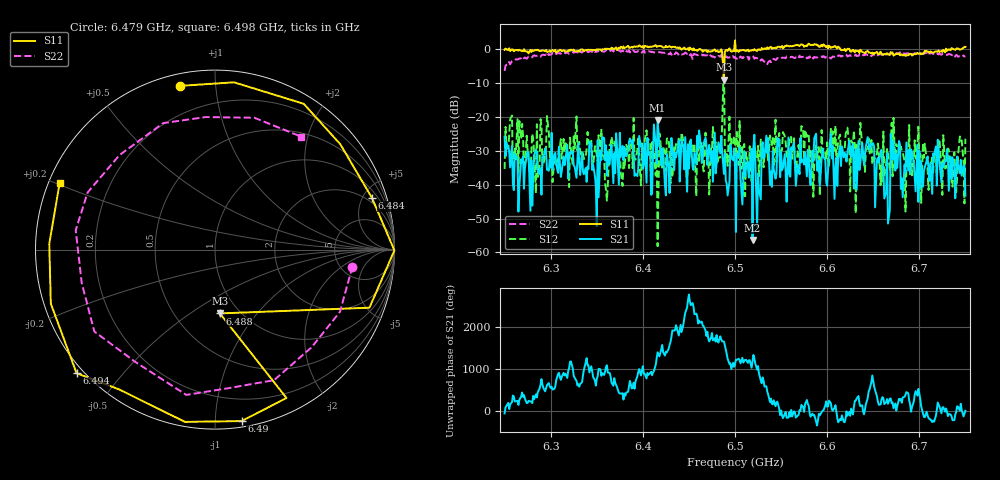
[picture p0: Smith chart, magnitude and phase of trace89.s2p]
# Hz S RI R 50
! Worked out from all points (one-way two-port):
!   401 points, 6.25 GHz to 6.75 GHz, reference 50 ohm
!   highest |S21| = -20.91 dB at 6.416 GHz (marker M1); lowest = -56.3 dB at 6.519 GHz (marker M2)
!   lowest |S11| = -9.0 dB at 6.488 GHz (marker M3), VSWR 2.11, Z = 40.7 - j33.2 ohm
!   |S11| at or under -10 dB: nowhere
!   |S22| runs from -6.4 to -0.1 dB; largest |S21 - S12| = 0.75
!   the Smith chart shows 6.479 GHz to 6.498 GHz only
!   S11 on the Smith chart (normalised r, x): 6.479 GHz: 0.06, +0.81; 6.484 GHz: 1.54, +5.84; 6.488 GHz: 0.81, -0.66; 6.49 GHz: 0.04, -1.17; 6.494 GHz: -0.02, -0.38; 6.498 GHz: 0.03, +0.20
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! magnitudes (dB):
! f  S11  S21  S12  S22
! 6.25 GHz  -0.1  -25.9  -35.4  -6.4
! 6.28 GHz  -0.2  -46.2  -24.9  -2.4
! 6.334 GHz  0.0  -30.4  -32.9  -1.0
! 6.36 GHz  0.1  -28.4  -41.6  -0.3
! 6.366 GHz  0.5  -28.2  -25.9  -0.1
! 6.405 GHz  0.9  -26.2  -27.4  -0.7
! 6.416 GHz  0.9  -20.9  -58.2  -1.0
! 6.418 GHz  1.0  -28.3  -24.9  -0.8
! 6.426 GHz  0.6  -30.9  -26.4  -1.1
! 6.479 GHz  -0.6  -36.7  -27.4  -2.3
! 6.484 GHz  -0.7  -30.7  -31.9  -2.2
! 6.488 GHz  -9.0  -36.8  -2.7  -1.8
! 6.49 GHz  -0.3  -38.8  -32.5  -2.1
! 6.494 GHz  0.3  -39.1  -19.9  -2.4
! 6.498 GHz  -0.5  -32.8  -27.7  -2.0
! 6.5 GHz  2.6  -34.9  -27.4  -2.3
! 6.519 GHz  -0.2  -56.3  -35.8  -2.3
! 6.575 GHz  0.7  -34.0  -32.7  -2.1
! 6.584 GHz  1.3  -29.9  -30.1  -2.2
! 6.646 GHz  -0.9  -29.8  -31.1  -1.4
! 6.668 GHz  -1.7  -47.6  -35.5  -1.4
! 6.75 GHz  0.7  -43.2  -26.4  -2.2
